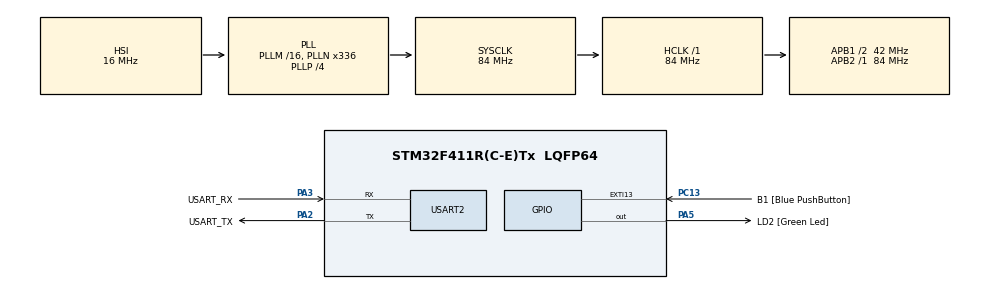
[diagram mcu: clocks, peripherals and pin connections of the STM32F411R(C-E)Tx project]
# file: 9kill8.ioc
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Mcu.Family=STM32F4
Mcu.Name=STM32F411R(C-E)Tx
Mcu.Package=LQFP64
NVIC.PriorityGroup=NVIC_PRIORITYGROUP_0
NVIC.TIM1_TRG_COM_TIM11_IRQn=true\:0\:0\:false\:false\:true\:true\:true
NVIC.USART2_IRQn=true\:0\:0\:false\:false\:true\:true\:true
PA13.GPIO_Label=TMS
PA13.Mode=Serial_Wire
PA13.Signal=SYS_JTMS-SWDIO
PA14.GPIO_Label=TCK
PA14.Mode=Serial_Wire
PA14.Signal=SYS_JTCK-SWCLK
PA2.GPIO_Label=USART_TX
PA2.Mode=Asynchronous
PA2.Signal=USART2_TX
PA3.GPIO_Label=USART_RX
PA3.Mode=Asynchronous
PA3.Signal=USART2_RX
PA5.GPIO_Label=LD2 [Green Led]
PA5.Signal=GPIO_Output
PB3.GPIO_Label=SWO
PB3.Signal=SYS_JTDO-SWO
PC13-ANTI_TAMP.GPIO_Label=B1 [Blue PushButton]
PC13-ANTI_TAMP.GPIO_ModeDefaultEXTI=GPIO_MODE_IT_FALLING
PC13-ANTI_TAMP.Signal=GPXTI13
PC14-OSC32_IN.Mode=LSE-External-Oscillator
PC14-OSC32_IN.Signal=RCC_OSC32_IN
PC15-OSC32_OUT.Mode=LSE-External-Oscillator
PC15-OSC32_OUT.Signal=RCC_OSC32_OUT
PH0\ -\ OSC_IN.Mode=HSE-External-Clock-Source
PH0\ -\ OSC_IN.Signal=RCC_OSC_IN
PH1\ -\ OSC_OUT.Mode=HSE-External-Clock-Source
PH1\ -\ OSC_OUT.Signal=RCC_OSC_OUT
ProjectManager.HeapSize=0x200
ProjectManager.StackSize=0x400
ProjectManager.TargetToolchain=STM32CubeIDE
RCC.48MHZClocksFreq_Value=84000000
RCC.AHBFreq_Value=84000000
RCC.APB1CLKDivider=RCC_HCLK_DIV2
RCC.APB1Freq_Value=42000000
RCC.APB1TimFreq_Value=84000000
RCC.APB2Freq_Value=84000000
RCC.APB2TimFreq_Value=84000000
RCC.CortexFreq_Value=84000000
RCC.FLatency-AdvancedSettings=FLASH_LATENCY_2
RCC.HCLKFreq_Value=84000000
RCC.HSE_VALUE=8000000
RCC.HSI_VALUE=16000000
RCC.PLLN=336
RCC.PLLP=RCC_PLLP_DIV4
RCC.SYSCLKFreq_VALUE=84000000
RCC.SYSCLKSource=RCC_SYSCLKSOURCE_PLLCLK
RCC.VCOOutputFreq_Value=336000000
USART2.VirtualMode=VM_ASYNC
VP_TIM11_VS_ClockSourceINT.Mode=Enable_Timer
board=NUCLEO-F411RE

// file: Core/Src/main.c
/* USER CODE BEGIN Header */
/**
 ******************************************************************************
 * @file           : main.c
 * @brief          : Main program body
 ******************************************************************************
 * @attention
 *
 * <h2><center>&copy; Copyright (c) 2021 STMicroelectronics.
 * All rights reserved.</center></h2>
 *
 * This software component is licensed by ST under BSD 3-Clause license,
 * the "License"; You may not use this file except in compliance with the
 * License. You may obtain a copy of the License at:
 *                        opensource.org/licenses/BSD-3-Clause
 *
 ******************************************************************************
 */
/* USER CODE END Header */
#include "main.h"

TIM_HandleTypeDef htim11;

UART_HandleTypeDef huart2;

/* USER CODE BEGIN PV */
uint64_t _micros = 0;
char TxDataBuffer[32] = { 0 };
char RxDataBuffer[32] = { 0 };
char temp[100] = { 0 };
char s[100] = { 0 };
uint64_t frequency[] = { 0 };
uint32_t STATE_Display = 0;
uint64_t Timestamp = 0;
int blink = 1;
int f = 1;
uint8_t button[2] = { 0 };
enum _StateDisplay {
	State_Start = 0,
	State_Menu_Print = 10,
	State_Menu_WaitInput,
	State_Menu1_Print = 20,
	State_Menu1_WaitInput,
	State_Menu2_Print = 30,
	State_Menu2_WaitInput
};
/* USER CODE END PV */

void SystemClock_Config(void);
static void MX_GPIO_Init(void);
static void MX_USART2_UART_Init(void);
static void MX_TIM11_Init(void);
/* USER CODE BEGIN PFP */
void UARTRecieveAndResponsePolling();
int16_t UARTRecieveIT();
uint64_t micros();
/* USER CODE END PFP */

int main(void) {

	/* MCU Configuration--------------------------------------------------------*/

	/* Reset of all peripherals, Initializes the Flash interface and the Systick. */
	HAL_Init();

	/* Configure the system clock */
	SystemClock_Config();

	/* Initialize all configured peripherals */
	MX_GPIO_Init();
	MX_USART2_UART_Init();
	MX_TIM11_Init();
	/* USER CODE BEGIN 2 */
	HAL_TIM_Base_Start_IT(&htim11);
//	{
//		sprintf(temp, "%d\r\n", f);
////   char temp[]="HELLO WORLD\r\n please type something to test UART\r\n";
//		HAL_UART_Transmit(&huart2, (uint8_t*) temp, strlen(temp), 100);
//	}
	/* USER CODE END 2 */

	/* Infinite loop */
	/* USER CODE BEGIN WHILE */
	while (1) {
		UARTRecieveAndResponsePolling();
		button[0] = HAL_GPIO_ReadPin(GPIOC, GPIO_PIN_13);
		/*Method 2 Interrupt Mode*/
		HAL_UART_Receive_IT(&huart2, (uint8_t*) RxDataBuffer, 32);

		/*Method 2 W/ 1 Char Received*/
		int16_t inputchar = UARTRecieveIT();
		if (inputchar != -1) {
			//sprintf(TxDataBuffer, "ReceivedChar:[%c]\r\n", inputchar);
			HAL_UART_Transmit(&huart2, (uint8_t*) TxDataBuffer,
					strlen(TxDataBuffer), 1000);
		}
		switch (STATE_Display)
		{
			case State_Start:
				STATE_Display = State_Menu_Print;
				break;
			case State_Menu_Print: //display one time state
			{
				char temp[] = "Menu\r\n"
						"1.[1] Menu 1 (LED control)\r\n"
						"2.[2] Menu 2\r\n";
				HAL_UART_Transmit(&huart2, (uint16_t*) temp, strlen(temp), 1000);
				STATE_Display = State_Menu_WaitInput;
				break;
			}

			case State_Menu_WaitInput: //wait state for input
				switch (inputchar)
				{
					case -1:
						//no input ; just wait input
						break;
					case '1':
						STATE_Display = State_Menu1_Print;
						break;
					case '2':
						STATE_Display = State_Menu2_Print;
						break;
					default: // actully error , you can add error message
					{
						char temp[] = "*Wrong Input*\r\n";
						HAL_UART_Transmit(&huart2, (uint8_t*) temp, strlen(temp), 1000);
						STATE_Display = State_Menu_Print;
						break;
					}
				}
				break;

			case State_Menu1_Print: //display one time state
			{
				char temp[] = "|Menu1|\r\n"
						"1.[a] + frequency (+1)\r\n"
						"2.[s] - frequency (-1)\r\n"
						"3.[d] On/Off LED\r\n"
						"4.[x] Back\r\n";
				HAL_UART_Transmit(&huart2, (uint8_t*) temp, strlen(temp), 1000);
				STATE_Display = State_Menu1_WaitInput;
				break;
			}

			case State_Menu1_WaitInput:
				switch (inputchar)
				{
					case -1:
						//no input ; just wait input
						break;
					case 'a': {
						if (blink == 1){
							f += 1;
						}
						sprintf(s, "Now frequency:[%d]\r\n", f);
						HAL_UART_Transmit(&huart2, (uint8_t*) s, strlen(s), 1000);
						inputchar = ' ';
						STATE_Display = State_Menu1_Print;
						break;
					}
					case 's': {
						if (blink == 1){
							f -= 1;
						}
						if (f <= 0) {
							f = 0;
						}
						sprintf(s, "Now frequency:[%d]\r\n", f);
						HAL_UART_Transmit(&huart2, (uint8_t*) s, strlen(s), 1000);
						STATE_Display = State_Menu1_Print;
						break;
					}
					case 'd':
						STATE_Display = State_Menu1_Print;
						if (blink == 1) {
							blink = 0;
							sprintf(s, "LED OFF\r\n", f);
							HAL_UART_Transmit(&huart2, (uint8_t*) s, strlen(s), 1000);
							break;
						}
						if (blink == 0) {
							blink = 1;
							sprintf(s, "LED ON\r\n", f);
							HAL_UART_Transmit(&huart2, (uint8_t*) s, strlen(s), 1000);
							break;
						}
					case 'x': // back to main manu(10)
						STATE_Display = State_Menu_Print;
						break;
					default: // actully error , you can add error message
					{
						STATE_Display = State_Menu1_Print;
						char temp[] = "*Wrong Input*\r\n";
						HAL_UART_Transmit(&huart2, (uint8_t*) temp, strlen(temp), 1000);
						break;
					}
				}break;

			case State_Menu2_Print: //display state
			{
				char temp[] = "|Menu 2|\r\n"
						"1.[x] Back\r\n";
				HAL_UART_Transmit(&huart2, (uint8_t*) temp, strlen(temp), 1000);
				STATE_Display = State_Menu2_WaitInput;
				break;
			}

			case State_Menu2_WaitInput: //make decision state
			{
				switch (inputchar) {
				case 'x':
					STATE_Display = State_Menu_Print;
					break;
				case -1:
					break;
				default: // actully error , you can add error message
					{
						STATE_Display = State_Menu2_Print;
						char temp[] = "*Wrong Input*\r\n";
						HAL_UART_Transmit(&huart2, (uint8_t*) temp, strlen(temp), 1000);
						break;
					}
				}
			}
				break;
		}
		/*This section just simmulate Work Load*/
		if (blink == 0 || f == 0) {
			HAL_GPIO_WritePin(GPIOA, GPIO_PIN_5, 0);
		}
		if (f > 0) {
			HAL_Delay(500 / f);
			if (blink == 1) {
				HAL_GPIO_TogglePin(GPIOA, GPIO_PIN_5);
			}
		}

		if (STATE_Display == State_Menu2_WaitInput) {
			if (button[0] == 0 && button[1] == 1) {
				char temp[] = "Button: Down\r\n";
				HAL_UART_Transmit(&huart2, (uint8_t*) temp, strlen(temp), 1000);
				STATE_Display = State_Menu2_Print;
			} else if (button[0] == 1 && button[1] == 0) {
				char temp[] = "Button: Up\r\n";
				HAL_UART_Transmit(&huart2, (uint8_t*) temp, strlen(temp), 1000);
				STATE_Display = State_Menu2_Print;
			}
		}

		button[1] = button[0];
		/* USER CODE END WHILE */

	}
}

void SystemClock_Config(void) {
	RCC_OscInitTypeDef RCC_OscInitStruct = { 0 };
	RCC_ClkInitTypeDef RCC_ClkInitStruct = { 0 };

	/** Configure the main internal regulator output voltage
	 */
	__HAL_RCC_PWR_CLK_ENABLE();
	__HAL_PWR_VOLTAGESCALING_CONFIG(PWR_REGULATOR_VOLTAGE_SCALE1);
	/** Initializes the RCC Oscillators according to the specified parameters
	 * in the RCC_OscInitTypeDef structure.
	 */
	RCC_OscInitStruct.OscillatorType = RCC_OSCILLATORTYPE_HSI;
	RCC_OscInitStruct.HSIState = RCC_HSI_ON;
	RCC_OscInitStruct.HSICalibrationValue = RCC_HSICALIBRATION_DEFAULT;
	RCC_OscInitStruct.PLL.PLLState = RCC_PLL_ON;
	RCC_OscInitStruct.PLL.PLLSource = RCC_PLLSOURCE_HSI;
	RCC_OscInitStruct.PLL.PLLM = 16;
	RCC_OscInitStruct.PLL.PLLN = 336;
	RCC_OscInitStruct.PLL.PLLP = RCC_PLLP_DIV4;
	RCC_OscInitStruct.PLL.PLLQ = 4;
	if (HAL_RCC_OscConfig(&RCC_OscInitStruct) != HAL_OK) {
		Error_Handler();
	}
	/** Initializes the CPU, AHB and APB buses clocks
	 */
	RCC_ClkInitStruct.ClockType = RCC_CLOCKTYPE_HCLK | RCC_CLOCKTYPE_SYSCLK
			| RCC_CLOCKTYPE_PCLK1 | RCC_CLOCKTYPE_PCLK2;
	RCC_ClkInitStruct.SYSCLKSource = RCC_SYSCLKSOURCE_PLLCLK;
	RCC_ClkInitStruct.AHBCLKDivider = RCC_SYSCLK_DIV1;
	RCC_ClkInitStruct.APB1CLKDivider = RCC_HCLK_DIV2;
	RCC_ClkInitStruct.APB2CLKDivider = RCC_HCLK_DIV1;

	if (HAL_RCC_ClockConfig(&RCC_ClkInitStruct, FLASH_LATENCY_2) != HAL_OK) {
		Error_Handler();
	}
}

static void MX_TIM11_Init(void) {

	htim11.Instance = TIM11;
	htim11.Init.Prescaler = 0;
	htim11.Init.CounterMode = TIM_COUNTERMODE_UP;
	htim11.Init.Period = 65535;
	htim11.Init.ClockDivision = TIM_CLOCKDIVISION_DIV1;
	htim11.Init.AutoReloadPreload = TIM_AUTORELOAD_PRELOAD_DISABLE;
	if (HAL_TIM_Base_Init(&htim11) != HAL_OK) {
		Error_Handler();
	}

}

static void MX_USART2_UART_Init(void) {

	huart2.Instance = USART2;
	huart2.Init.BaudRate = 115200;
	huart2.Init.WordLength = UART_WORDLENGTH_8B;
	huart2.Init.StopBits = UART_STOPBITS_1;
	huart2.Init.Parity = UART_PARITY_NONE;
	huart2.Init.Mode = UART_MODE_TX_RX;
	huart2.Init.HwFlowCtl = UART_HWCONTROL_NONE;
	huart2.Init.OverSampling = UART_OVERSAMPLING_16;
	if (HAL_UART_Init(&huart2) != HAL_OK) {
		Error_Handler();
	}

}

static void MX_GPIO_Init(void) {
	GPIO_InitTypeDef GPIO_InitStruct = { 0 };

	/* GPIO Ports Clock Enable */
	__HAL_RCC_GPIOC_CLK_ENABLE();
	__HAL_RCC_GPIOH_CLK_ENABLE();
	__HAL_RCC_GPIOA_CLK_ENABLE();
	__HAL_RCC_GPIOB_CLK_ENABLE();

	/*Configure GPIO pin Output Level */
	HAL_GPIO_WritePin(LD2_GPIO_Port, LD2_Pin, GPIO_PIN_RESET);

	/*Configure GPIO pin : B1_Pin */
	GPIO_InitStruct.Pin = B1_Pin;
	GPIO_InitStruct.Mode = GPIO_MODE_IT_FALLING;
	GPIO_InitStruct.Pull = GPIO_NOPULL;
	HAL_GPIO_Init(B1_GPIO_Port, &GPIO_InitStruct);

	/*Configure GPIO pin : LD2_Pin */
	GPIO_InitStruct.Pin = LD2_Pin;
	GPIO_InitStruct.Mode = GPIO_MODE_OUTPUT_PP;
	GPIO_InitStruct.Pull = GPIO_NOPULL;
	GPIO_InitStruct.Speed = GPIO_SPEED_FREQ_LOW;
	HAL_GPIO_Init(LD2_GPIO_Port, &GPIO_InitStruct);

}

/* USER CODE BEGIN 4 */
void UARTRecieveAndResponsePolling() {
	char Recieve[32] = { 0 };

	HAL_UART_Receive(&huart2, (uint8_t*) Recieve, 32, 1000);

	//sprintf(TxDataBuffer, "Received:[%s]\r\n", Recieve);
	HAL_UART_Transmit(&huart2, (uint8_t*) TxDataBuffer, strlen(TxDataBuffer),
			1000);

}

int16_t UARTRecieveIT() {
	static uint32_t dataPos = 0;
	int16_t data = -1;
	if (huart2.RxXferSize - huart2.RxXferCount != dataPos) {
		data = RxDataBuffer[dataPos];
		dataPos = (dataPos + 1) % huart2.RxXferSize;
	}
	return data;
}

void HAL_UART_RxCpltCallback(UART_HandleTypeDef *huart) {
	//sprintf(TxDataBuffer, "Received:[%s]\r\n", RxDataBuffer);
	HAL_UART_Transmit(&huart2, (uint8_t*) TxDataBuffer, strlen(TxDataBuffer),
			1000);
}
void HAL_TIM_PeriodElapsedCallback(TIM_HandleTypeDef *htim) {
	if (htim == &htim11) {
		_micros += 65535;
	}
}
uint64_t micros() {
	return _micros + htim11.Instance->CNT;
}
/* USER CODE END 4 */

void Error_Handler(void) {
	__disable_irq();
	while (1) {
	}
}

/************************ (C) COPYRIGHT STMicroelectronics *****END OF FILE****/
